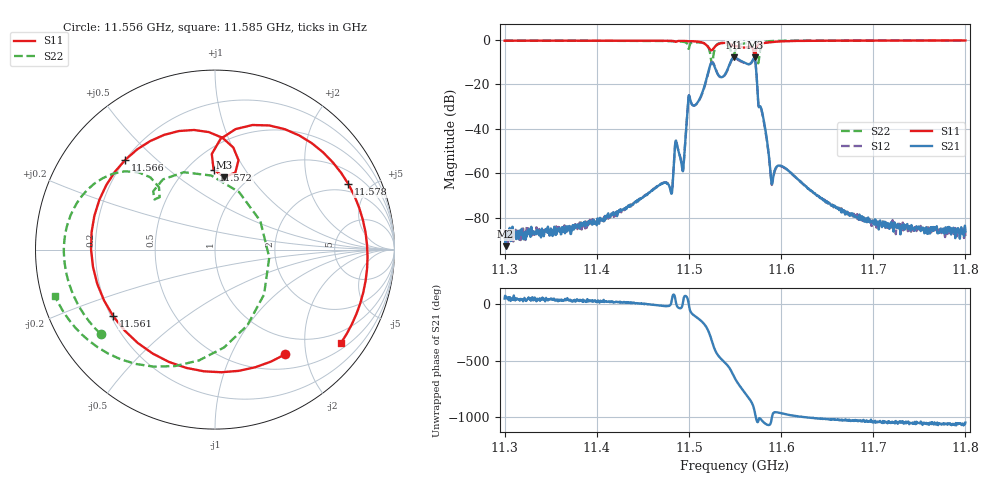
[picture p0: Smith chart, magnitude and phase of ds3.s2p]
! Created with skrf (http://scikit-rf.org).
# Hz S RI R 50.0
!freq ReS11 ImS11 ReS21 ImS21 ReS12 ImS12 ReS22 ImS22
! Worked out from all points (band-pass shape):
!   1001 points, 11.3 GHz to 11.8 GHz, reference 50 ohm
!   highest |S21| = -7.79 dB at 11.549 GHz (marker M1); lowest = -92.8 dB at 11.301 GHz (marker M2)
!   |S21| within 3 dB of the highest: 11.54432 GHz to 11.56348 GHz (19.16 MHz wide, 0.166 % of centre); 11.56585 GHz to 11.57238 GHz (6.528 MHz wide, 0.0564 % of centre)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
!   lowest |S11| = -7.8 dB at 11.572 GHz (marker M3), VSWR 2.37, Z = 39.4 + j38.1 ohm
!   |S11| at or under -10 dB: nowhere
!   |S22| runs from -10.9 to -0.2 dB; largest |S21 - S12| = 0.014
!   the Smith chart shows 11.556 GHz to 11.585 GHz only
!   S11 on the Smith chart (normalised r, x): 11.556 GHz: 0.71, -1.64; 11.561 GHz: 0.21, -0.29; 11.566 GHz: 0.20, +0.40; 11.572 GHz: 0.66, +0.73; 11.578 GHz: 1.58, +3.67; 11.585 GHz: 0.66, -2.90
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1.13e10  -0.806 0.5288  2.35e-05 2.64e-05  3.36e-05 4.3e-05  -0.7557 0.5989
1.1301e10  -0.8046 0.5312  1.1e-05 2.01e-05  4e-05 3.41e-05  -0.7538 0.6017
1.13835e10  -0.6172 0.7398  5.66e-05 3.27e-05  4.85e-05 2.44e-05  -0.5073 0.819
1.1467e10  -0.1551 0.9491  0.000518 -0.000106  0.000527 -0.000113  0.3947 0.8687
1.1491e10  0.164 0.9388  0.00168 -0.00125  0.00169 -0.00131  0.9213 -0.021
1.15065e10  0.5734 0.7345  -0.00941 -0.0328  -0.0109 -0.032  0.1079 -0.8818
1.1522e10  0.1346 -0.6301  -0.0554 0.2227  -0.0595 0.2157  -0.4809 0.3821
1.15285e10  -0.6714 0.2538  0.15 -0.1777  0.1475 -0.1852  -0.1957 -0.6532
1.1543e10  0.5468 0.6322  -0.2388 0.0596  -0.2313 0.0599  -0.3964 0.617
1.1549e10  0.7182 0.15  0.0858 0.3989  0.0919 0.3927  0.3558 -0.3212
1.155e10  0.7275 0.0579  0.1886 0.3588  0.1932 0.3484  0.1801 -0.5175
1.15555e10  0.3906 -0.5837  0.3427 -0.0453  0.3314 -0.0439  -0.6375 -0.4699
1.1561e10  -0.5671 -0.371  0.1105 -0.2825  0.1107 -0.2796  -0.8332 -0.1055
1.1566e10  -0.499 0.5011  -0.158 -0.2425  -0.1597 -0.2383  -0.7883 0.2261
1.15715e10  0.0528 0.4033  -0.201 0.3249  -0.1959 0.3221  -0.3086 0.2916
1.1572e10  -0.00793 0.4455  -0.0652 0.3314  -0.0617 0.3282  -0.3369 0.2795
1.1578e10  0.7436 0.3642  0.0143 0.0271  0.0148 0.0258  -0.2225 -0.6488
1.1585e10  0.7023 -0.5198  0.00486 0.0011  0.00464 0.00106  -0.891 -0.2604
1.1605e10  -0.6695 -0.6601  -0.000349 0.00123  -0.000379 0.00122  -0.9353 0.2376
1.16335e10  -0.9602 0.0562  0.000118 0.000376  0.000125 0.000372  -0.8358 0.4931
1.1717e10  -0.6786 0.6956  4.18e-05 4.08e-05  6.3e-05 2.79e-05  -0.5696 0.7907
1.18e10  -0.4128 0.8838  4.19e-05 2.6e-05  3.75e-05 9.64e-06  -0.344 0.9137
